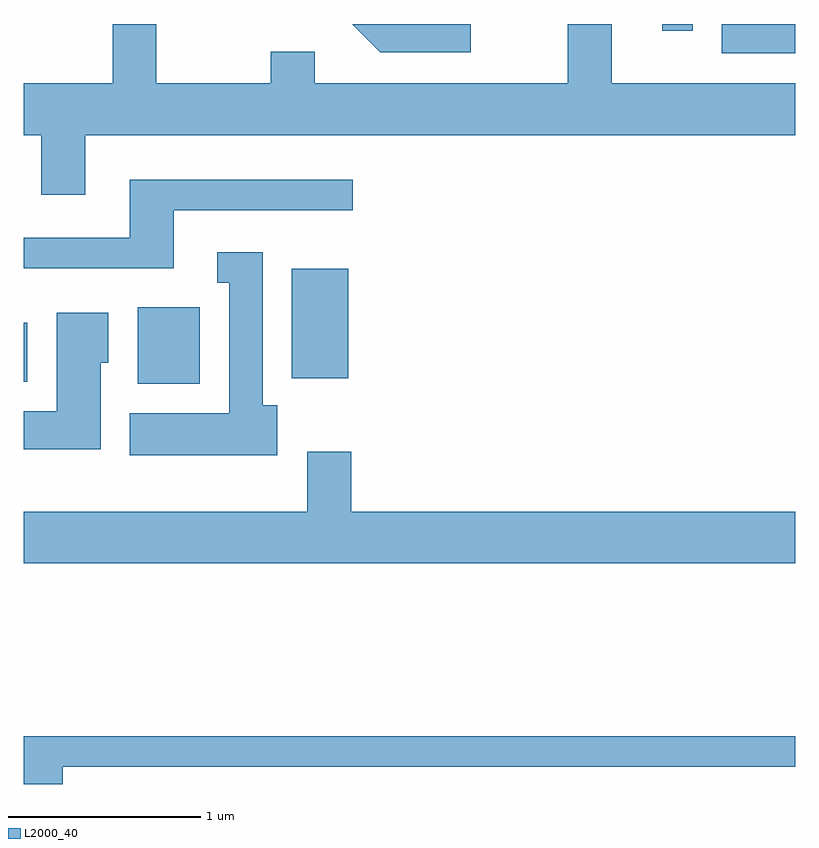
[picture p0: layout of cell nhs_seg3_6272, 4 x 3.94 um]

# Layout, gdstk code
import gdstk
lib = gdstk.Library(unit=1e-6, precision=1e-09)
def R(c, l, rs):  # rectangles x0, y0, x1, y1
    for r in rs: c.add(gdstk.rectangle(r[:2], r[2:], *l))
def P(c, l, *ps):  # polygons
    for p in ps: c.add(gdstk.Polygon(p, *l))
L2000_40 = (2000, 40)

nhs_seg3_6272 = lib.new_cell('nhs_seg3_6272')
R(nhs_seg3_6272, L2000_40, [(370.201,1158.026,370.524,1158.424), (369.611,1158.036,369.629,1158.344), (371.001,1158.056,371.294,1158.624), (373.231,1159.741,373.611,1159.892), (372.921,1159.858,373.079,1159.892)])
P(nhs_seg3_6272, L2000_40, [(369.929,1159.316),(373.611,1159.316),(373.611,1159.584),(372.659,1159.584),(372.659,1159.892),(372.431,1159.892),(372.431,1159.584),(371.119,1159.584),(371.119,1159.749),(370.891,1159.749),(370.891,1159.584),(370.299,1159.584),(370.299,1159.892),(370.071,1159.892),(370.071,1159.584),(369.611,1159.584),(369.611,1159.316),(369.701,1159.316),(369.701,1159.006),(369.929,1159.006)],
  [(371.928,1159.892),(371.313,1159.892),(371.459,1159.746),(371.928,1159.746)],
  [(370.389,1158.926),(371.318,1158.926),(371.318,1159.084),(370.161,1159.084),(370.161,1158.784),(369.611,1158.784),(369.611,1158.626),(370.389,1158.626)],
  [(370.924,1157.914),(370.849,1157.914),(370.849,1158.709),(370.613,1158.709),(370.613,1158.551),(370.676,1158.551),(370.676,1157.874),(370.161,1157.874),(370.161,1157.656),(370.924,1157.656)],
  [(370.009,1158.136),(370.049,1158.136),(370.049,1158.394),(369.781,1158.394),(369.781,1157.884),(369.611,1157.884),(369.611,1157.686),(370.009,1157.686)],
  [(373.611,1157.364),(371.309,1157.364),(371.309,1157.674),(371.081,1157.674),(371.081,1157.364),(369.611,1157.364),(369.611,1157.096),(373.611,1157.096)],
  [(369.814,1156.041),(373.611,1156.041),(373.611,1156.199),(369.611,1156.199),(369.611,1155.951),(369.814,1155.951)])

lib.write_gds('nhs_seg3_6272.gds')
